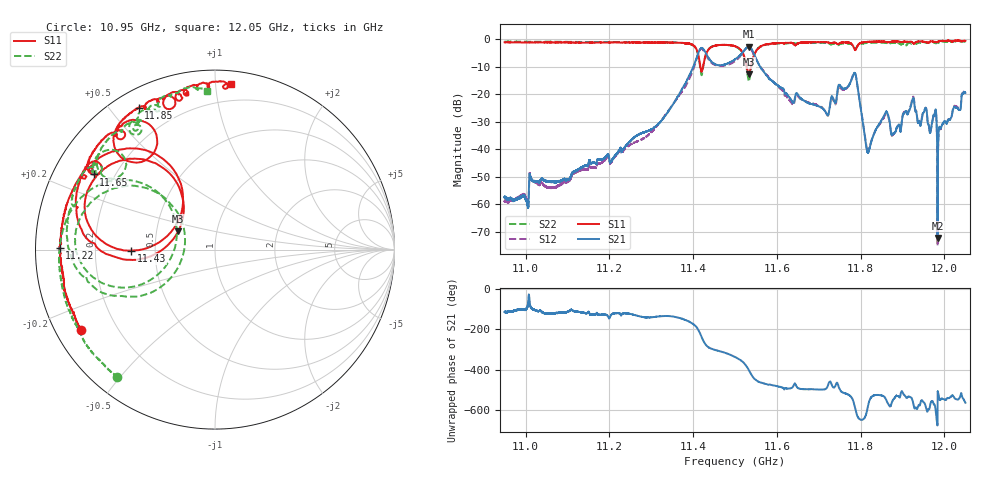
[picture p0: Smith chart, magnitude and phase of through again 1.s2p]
!Agilent Technologies,E8362C,MY49020356,A.09.42.23
!Agilent E8362C: A.09.42.23
!Date: Saturday, September 11, 2021 04:22:29
!Correction: S11(Full 2 Port(1,2))
!S21(Full 2 Port(1,2))
!S12(Full 2 Port(1,2))
!S22(Full 2 Port(1,2))
!S2P File: Measurements: S11, S21, S12, S22:
# Hz S  MA  R 50
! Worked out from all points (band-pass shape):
!   32001 points, 10.95 GHz to 12.05 GHz, reference 50 ohm
!   highest |S21| = -2.79 dB at 11.53 GHz (marker M1); lowest = -72.2 dB at 11.98 GHz (marker M2)
!   |S21| within 3 dB of the highest: 11.41079 GHz to 11.43269 GHz (21.9 MHz wide, 0.192 % of centre); 11.51289 GHz to 11.5462 GHz (33.31 MHz wide, 0.289 % of centre)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
!   lowest |S11| = -12.8 dB at 11.53 GHz (marker M3), VSWR 1.59, Z = 32.4 + j6.92 ohm
!   |S11| at or under -10 dB: 11.41727 GHz to 11.42364 GHz (6.378 MHz wide, 0.0558 % of centre); 11.52824 GHz to 11.5382 GHz (9.966 MHz wide, 0.0864 % of centre)
!   |S22| runs from -15.5 to -0.8 dB; largest |S21 - S12| = 0.047
!   S11 on the Smith chart (normalised r, x): 10.95 GHz: 0.07, -0.28; 11.22 GHz: 0.07, +0.01; 11.43 GHz: 0.36, -0.01; 11.65 GHz: 0.12, +0.28; 11.85 GHz: 0.07, +0.60; 12.05 GHz: 0.09, +1.10
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1.095e10  0.8714 -149.1  0.001341 -113.6  0.001142 -113.8  0.8953 -127.4
1.113336e10  0.8582 -170.4  0.004685 -114.8  0.004219 -120.5  0.884 -148.2
1.121531e10  0.8649 179.3  0.007928 -119.3  0.007665 -120.9  0.8814 -158.7
1.131668e10  0.8636 164.6  0.02861 -135.7  0.0282 -128.1  0.8717 -174.3
1.140698e10  0.6775 125.1  0.4243 174.5  0.3977 179.7  0.6622 144.1
1.14196e10  0.2597 141.9  0.6861 126.4  0.6724 127.5  0.2225 163.8
1.142847e10  0.4653 -179.2  0.5885 89.4  0.5495 90.2  0.4673 -154.9
1.15e10  0.7405 139.2  0.4266 23.9  0.3933 26.1  0.7317 157.9
1.153324e10  0.2282 153.7  0.7234 -42.0  0.7131 -41.4  0.1701 175.6
1.153348e10  0.2294 156.0  0.7257 -43.0  0.7114 -42.4  0.1712 178.7
1.155634e10  0.6764 176.9  0.3509 -99.0  0.3499 -95.5  0.6946 -161.3
1.164664e10  0.7957 148.2  0.1043 -121.0  0.09752 -116.5  0.8222 162.8
1.168336e10  0.8727 139.9  0.06606 -135.8  0.06814 -133.5  0.85 156.1
1.172055e10  0.8707 131.9  0.04196 -124.0  0.04114 -125.8  0.8431 147.4
1.178462e10  0.6688 119.0  0.2423 149.3  0.2481 151.4  0.6977 135.5
1.181646e10  0.8858 125.9  0.008823 130.0  0.00913 129.9  0.8473 138.8
1.185107e10  0.8977 118.2  0.03478 -167.7  0.03294 -168.5  0.8568 131.3
1.186668e10  0.8763 116.3  0.03924 148.0  0.03718 150.5  0.8364 128.5
1.187878e10  0.9018 114.7  0.0194 175.0  0.01891 178.9  0.8514 126.5
1.192391e10  0.8614 104.9  0.08128 168.0  0.08552 167.7  0.8367 121.1
1.198359e10  0.8876 101.2  0.0002468 78.9  0.0002059 56.8  0.8701 112.3
1.205e10  0.9243 84.6  0.1053 157.0  0.1092 154.7  0.8818 92.5
